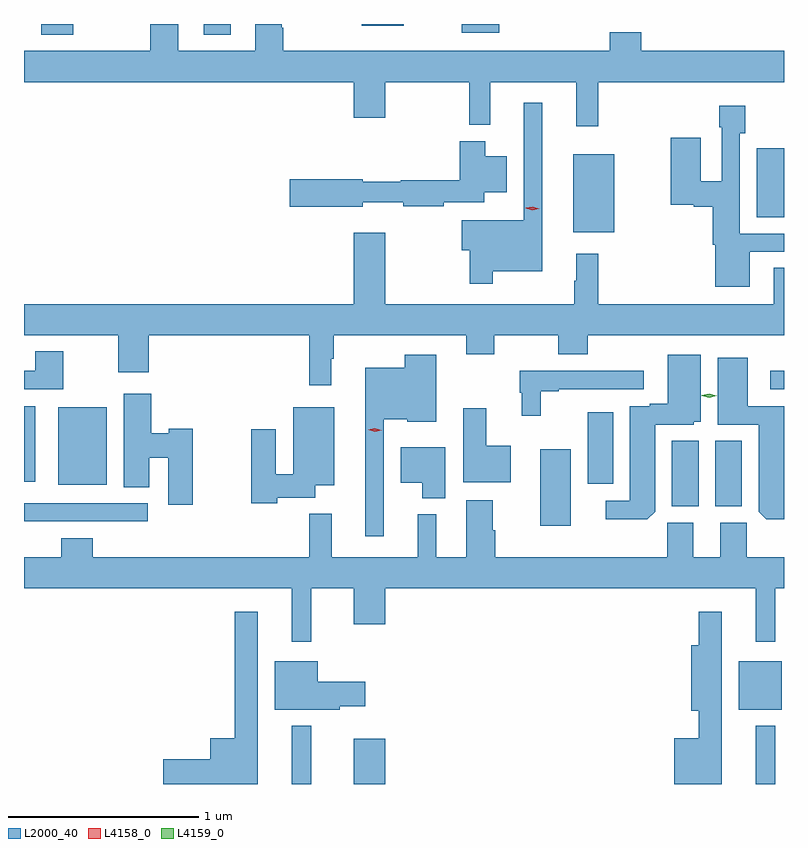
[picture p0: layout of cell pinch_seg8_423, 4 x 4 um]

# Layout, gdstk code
import gdstk
lib = gdstk.Library(unit=1e-6, precision=1e-09)
def R(c, l, rs):  # rectangles x0, y0, x1, y1
    for r in rs: c.add(gdstk.rectangle(r[:2], r[2:], *l))
def P(c, l, *ps):  # polygons
    for p in ps: c.add(gdstk.Polygon(p, *l))
L2000_40 = (2000, 40)
L4158_0 = (4158, 0)
L4159_0 = (4159, 0)

pinch_seg8_423 = lib.new_cell('pinch_seg8_423')
R(pinch_seg8_423, L2000_40, [(260.585,1138.114,260.689,1138.42), (260.912,1138.114,261.076,1138.351), (263.027,1138.114,263.131,1138.42), (262.937,1138.505,263.164,1138.759), (261.893,1139.472,262.054,1139.875), (259.176,1139.496,259.828,1139.592), (262.586,1139.575,262.726,1139.921), (262.814,1139.575,262.954,1139.921), (259.355,1139.69,259.612,1140.097), (262.142,1139.694,262.276,1140.07), (259.176,1139.705,259.234,1140.103), (263.103,1140.192,263.176,1140.288), (262.067,1141.019,262.282,1141.429), (263.033,1141.096,263.176,1141.459), (259.268,1142.058,259.435,1142.114), (260.123,1142.058,260.263,1142.114), (261.481,1142.067,261.676,1142.114), (260.954,1142.105,261.174,1142.114)])
P(pinch_seg8_423, L2000_40, [(262.199,1141.808),(263.176,1141.808),(263.176,1141.972),(262.424,1141.972),(262.424,1142.071),(262.259,1142.071),(262.259,1141.972),(260.541,1141.972),(260.541,1142.093),(260.533,1142.093),(260.533,1142.114),(260.393,1142.114),(260.393,1141.972),(259.987,1141.972),(259.987,1142.114),(259.84,1142.114),(259.84,1141.972),(259.176,1141.972),(259.176,1141.808),(260.912,1141.808),(260.912,1141.62),(261.076,1141.62),(261.076,1141.808),(261.519,1141.808),(261.519,1141.583),(261.629,1141.583),(261.629,1141.808),(262.082,1141.808),(262.082,1141.575),(262.199,1141.575)],
  [(261.643,1140.812),(261.904,1140.812),(261.904,1141.699),(261.807,1141.699),(261.807,1141.081),(261.48,1141.081),(261.48,1140.923),(261.522,1140.923),(261.522,1140.747),(261.643,1140.747)],
  [(262.996,1140.915),(263.176,1140.915),(263.176,1141.011),(262.944,1141.011),(262.944,1141.539),(262.971,1141.539),(262.971,1141.684),(262.836,1141.684),(262.836,1141.571),(262.848,1141.571),(262.848,1141.286),(262.738,1141.286),(262.738,1141.516),(262.58,1141.516),(262.58,1141.163),(262.701,1141.163),(262.701,1141.151),(262.802,1141.151),(262.802,1140.951),(262.814,1140.951),(262.814,1140.731),(262.996,1140.731)],
  [(260.958,1141.175),(261.172,1141.175),(261.172,1141.156),(261.386,1141.156),(261.386,1141.176),(261.598,1141.176),(261.598,1141.229),(261.718,1141.229),(261.718,1141.417),(261.604,1141.417),(261.604,1141.498),(261.47,1141.498),(261.47,1141.292),(261.158,1141.292),(261.158,1141.285),(260.958,1141.285),(260.958,1141.298),(260.574,1141.298),(260.574,1141.151),(260.958,1141.151)],
  [(260.794,1140.353),(260.806,1140.353),(260.806,1140.476),(261.503,1140.476),(261.503,1140.377),(261.651,1140.377),(261.651,1140.476),(261.988,1140.476),(261.988,1140.377),(262.143,1140.377),(262.143,1140.476),(263.176,1140.476),(263.176,1140.83),(263.123,1140.83),(263.123,1140.64),(262.199,1140.64),(262.199,1140.904),(262.082,1140.904),(262.082,1140.764),(262.071,1140.764),(262.071,1140.64),(261.076,1140.64),(261.076,1141.015),(260.912,1141.015),(260.912,1140.64),(259.176,1140.64),(259.176,1140.476),(259.672,1140.476),(259.672,1140.282),(259.832,1140.282),(259.832,1140.476),(260.677,1140.476),(260.677,1140.213),(260.794,1140.213)],
  [(259.383,1140.391),(259.235,1140.391),(259.235,1140.288),(259.176,1140.288),(259.176,1140.192),(259.383,1140.192)],
  [(262.498,1139.548),(262.498,1140.006),(262.701,1140.006),(262.701,1140.02),(262.738,1140.02),(262.738,1140.373),(262.565,1140.373),(262.565,1140.115),(262.469,1140.115),(262.469,1140.102),(262.364,1140.102),(262.364,1139.604),(262.239,1139.604),(262.239,1139.507),(262.457,1139.507)],
  [(261.069,1140.035),(261.192,1140.035),(261.192,1140.02),(261.346,1140.02),(261.346,1140.373),(261.181,1140.373),(261.181,1140.304),(260.972,1140.304),(260.972,1139.418),(261.069,1139.418)],
  [(263.176,1140.102),(262.984,1140.102),(262.984,1140.358),(262.826,1140.358),(262.826,1140.006),(263.042,1140.006),(263.042,1139.548),(263.083,1139.507),(263.176,1139.507)],
  [(261.897,1140.18),(261.991,1140.18),(261.991,1140.192),(262.438,1140.192),(262.438,1140.288),(261.786,1140.288),(261.786,1140.174),(261.797,1140.174),(261.797,1140.051),(261.897,1140.051)],
  [(260.064,1139.984),(259.938,1139.984),(259.938,1139.961),(259.847,1139.961),(259.847,1140.169),(259.7,1140.169),(259.7,1139.677),(259.834,1139.677),(259.834,1139.831),(259.934,1139.831),(259.934,1139.583),(260.064,1139.583)],
  [(260.508,1139.621),(260.71,1139.621),(260.71,1139.687),(260.809,1139.687),(260.809,1140.097),(260.594,1140.097),(260.594,1139.744),(260.5,1139.744),(260.5,1139.98),(260.371,1139.98),(260.371,1139.591),(260.508,1139.591)],
  [(261.739,1139.893),(261.61,1139.893),(261.61,1140.091),(261.488,1140.091),(261.488,1139.702),(261.739,1139.702)],
  [(261.394,1139.887),(261.158,1139.887),(261.158,1139.699),(261.272,1139.699),(261.272,1139.618),(261.394,1139.618)],
  [(260.689,1139.144),(260.912,1139.144),(260.912,1138.956),(261.076,1138.956),(261.076,1139.144),(263.027,1139.144),(263.027,1138.863),(263.131,1138.863),(263.131,1139.144),(263.176,1139.144),(263.176,1139.308),(262.979,1139.308),(262.979,1139.49),(262.841,1139.49),(262.841,1139.308),(262.699,1139.308),(262.699,1139.49),(262.561,1139.49),(262.561,1139.308),(261.656,1139.308),(261.656,1139.45),(261.643,1139.45),(261.643,1139.608),(261.503,1139.608),(261.503,1139.308),(261.346,1139.308),(261.346,1139.533),(261.248,1139.533),(261.248,1139.308),(260.795,1139.308),(260.795,1139.536),(260.677,1139.536),(260.677,1139.308),(259.538,1139.308),(259.538,1139.407),(259.373,1139.407),(259.373,1139.308),(259.176,1139.308),(259.176,1139.144),(260.585,1139.144),(260.585,1138.863),(260.689,1138.863)],
  [(262.849,1139.02),(262.728,1139.02),(262.728,1138.843),(262.688,1138.843),(262.688,1138.499),(262.728,1138.499),(262.728,1138.354),(262.598,1138.354),(262.598,1138.114),(262.849,1138.114)],
  [(260.407,1139.02),(260.286,1139.02),(260.286,1138.354),(260.156,1138.354),(260.156,1138.244),(259.908,1138.244),(259.908,1138.114),(260.407,1138.114)],
  [(260.838,1138.523),(260.971,1138.523),(260.971,1138.653),(260.722,1138.653),(260.722,1138.759),(260.495,1138.759),(260.495,1138.505),(260.838,1138.505)])
P(pinch_seg8_423, L4158_0, [(261.852,1141.133),(261.817,1141.145),(261.817,1141.145),(261.817,1141.146),(261.853,1141.153),(261.888,1141.141),(261.888,1141.141),(261.888,1141.141)],
  [(261.023,1139.967),(260.987,1139.979),(260.987,1139.979),(260.987,1139.979),(261.023,1139.987),(261.059,1139.976),(261.059,1139.976),(261.059,1139.975)])
P(pinch_seg8_423, L4159_0, [(262.782,1140.148),(262.742,1140.158),(262.742,1140.158),(262.742,1140.159),(262.782,1140.168),(262.822,1140.158),(262.822,1140.158),(262.822,1140.158)])

lib.write_gds('pinch_seg8_423.gds')
